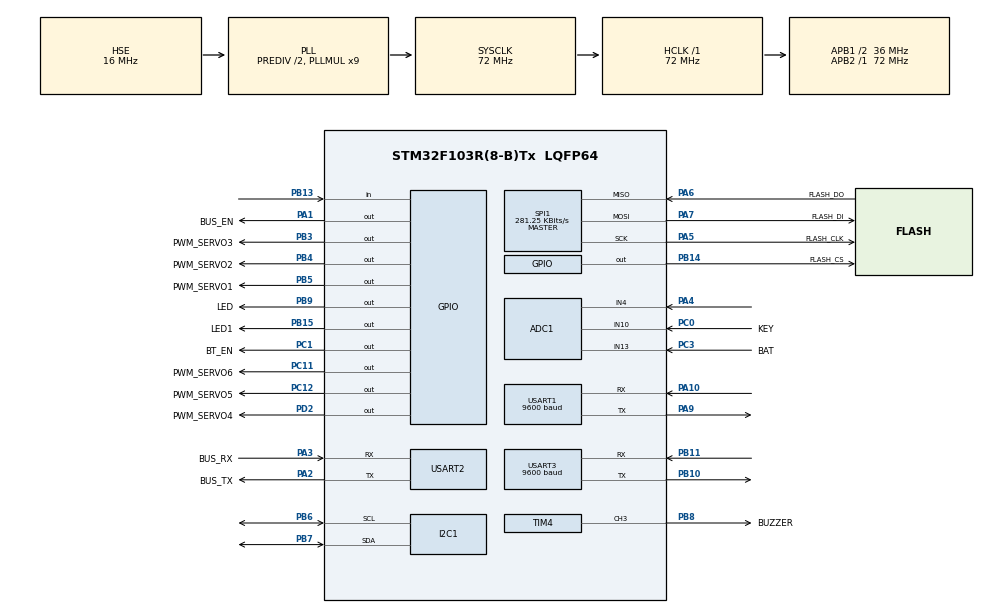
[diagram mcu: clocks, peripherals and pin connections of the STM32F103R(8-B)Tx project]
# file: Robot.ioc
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ADC1.Channel-0\#ChannelRegularConversion=ADC_CHANNEL_13
ADC1.Channel-1\#ChannelRegularConversion=ADC_CHANNEL_10
ADC1.Channel-2\#ChannelRegularConversion=ADC_CHANNEL_4
ADC1.ContinuousConvMode=DISABLE
ADC1.DataAlign=ADC_DATAALIGN_RIGHT
ADC1.NbrOfConversion=3
ADC1.NbrOfConversionFlag=1
ADC1.Rank-0\#ChannelRegularConversion=1
ADC1.Rank-1\#ChannelRegularConversion=2
ADC1.Rank-2\#ChannelRegularConversion=3
ADC1.SamplingTime-0\#ChannelRegularConversion=ADC_SAMPLETIME_239CYCLES_5
ADC1.SamplingTime-1\#ChannelRegularConversion=ADC_SAMPLETIME_239CYCLES_5
ADC1.SamplingTime-2\#ChannelRegularConversion=ADC_SAMPLETIME_239CYCLES_5
ADC1.master=1
Dma.ADC1.1.Direction=DMA_PERIPH_TO_MEMORY
Dma.ADC1.1.Instance=DMA1_Channel1
Dma.ADC1.1.MemDataAlignment=DMA_MDATAALIGN_HALFWORD
Dma.ADC1.1.MemInc=DMA_MINC_ENABLE
Dma.ADC1.1.Mode=DMA_CIRCULAR
Dma.ADC1.1.PeriphDataAlignment=DMA_PDATAALIGN_HALFWORD
Dma.ADC1.1.PeriphInc=DMA_PINC_DISABLE
Dma.ADC1.1.Priority=DMA_PRIORITY_LOW
Dma.I2C1_RX.2.Direction=DMA_PERIPH_TO_MEMORY
Dma.I2C1_RX.2.Instance=DMA1_Channel7
Dma.I2C1_RX.2.MemDataAlignment=DMA_MDATAALIGN_BYTE
Dma.I2C1_RX.2.MemInc=DMA_MINC_ENABLE
Dma.I2C1_RX.2.Mode=DMA_NORMAL
Dma.I2C1_RX.2.PeriphDataAlignment=DMA_PDATAALIGN_BYTE
Dma.I2C1_RX.2.PeriphInc=DMA_PINC_DISABLE
Dma.I2C1_RX.2.Priority=DMA_PRIORITY_VERY_HIGH
Dma.Request0=USART1_RX
Dma.Request1=ADC1
Dma.Request2=I2C1_RX
Dma.Request3=USART3_RX
Dma.USART1_RX.0.Direction=DMA_PERIPH_TO_MEMORY
Dma.USART1_RX.0.Instance=DMA1_Channel5
Dma.USART1_RX.0.MemDataAlignment=DMA_MDATAALIGN_BYTE
Dma.USART1_RX.0.MemInc=DMA_MINC_ENABLE
Dma.USART1_RX.0.Mode=DMA_NORMAL
Dma.USART1_RX.0.PeriphDataAlignment=DMA_PDATAALIGN_BYTE
Dma.USART1_RX.0.PeriphInc=DMA_PINC_DISABLE
Dma.USART1_RX.0.Priority=DMA_PRIORITY_LOW
Dma.USART3_RX.3.Direction=DMA_PERIPH_TO_MEMORY
Dma.USART3_RX.3.Instance=DMA1_Channel3
Dma.USART3_RX.3.MemDataAlignment=DMA_MDATAALIGN_BYTE
Dma.USART3_RX.3.MemInc=DMA_MINC_ENABLE
Dma.USART3_RX.3.Mode=DMA_NORMAL
Dma.USART3_RX.3.PeriphDataAlignment=DMA_PDATAALIGN_BYTE
Dma.USART3_RX.3.PeriphInc=DMA_PINC_DISABLE
Dma.USART3_RX.3.Priority=DMA_PRIORITY_LOW
I2C1.I2C_Mode=I2C_Standard
Mcu.Family=STM32F1
Mcu.Name=STM32F103R(8-B)Tx
Mcu.Package=LQFP64
NVIC.DMA1_Channel1_IRQn=true\:0\:0\:false\:false\:true\:false\:true\:true
NVIC.DMA1_Channel3_IRQn=true\:0\:0\:false\:false\:true\:false\:true\:true
NVIC.DMA1_Channel5_IRQn=true\:0\:0\:false\:false\:true\:false\:true\:true
NVIC.DMA1_Channel7_IRQn=true\:0\:0\:false\:true\:true\:4\:false\:true\:true
NVIC.I2C1_EV_IRQn=true\:0\:0\:false\:false\:true\:true\:true\:true
NVIC.PriorityGroup=NVIC_PRIORITYGROUP_4
NVIC.TIM3_IRQn=true\:0\:0\:true\:false\:true\:true\:false\:true
NVIC.USART1_IRQn=true\:3\:0\:true\:true\:true\:1\:true\:true\:true
NVIC.USART2_IRQn=true\:2\:0\:true\:true\:true\:2\:true\:false\:true
NVIC.USART3_IRQn=true\:1\:0\:true\:true\:true\:3\:true\:true\:true
PA1.GPIO_Label=BUS_EN
PA1.GPIO_Speed=GPIO_SPEED_FREQ_HIGH
PA1.PinState=GPIO_PIN_SET
PA1.Signal=GPIO_Output
PA10.Mode=Asynchronous
PA10.Signal=USART1_RX
PA13.Mode=Serial_Wire
PA13.Signal=SYS_JTMS-SWDIO
PA14.Mode=Serial_Wire
PA14.Signal=SYS_JTCK-SWCLK
PA2.GPIO_Label=BUS_TX
PA2.Mode=Asynchronous
PA2.Signal=USART2_TX
PA3.GPIO_Label=BUS_RX
PA3.Mode=Asynchronous
PA3.Signal=USART2_RX
PA4.Signal=ADCx_IN4
PA5.GPIO_Label=FLASH_CLK
PA5.GPIO_Speed=GPIO_SPEED_FREQ_HIGH
PA5.Mode=Full_Duplex_Master
PA5.Signal=SPI1_SCK
PA6.GPIO_Label=FLASH_DO
PA6.GPIO_PuPd=GPIO_NOPULL
PA6.Mode=Full_Duplex_Master
PA6.Signal=SPI1_MISO
PA7.GPIO_Label=FLASH_DI
PA7.GPIO_Speed=GPIO_SPEED_FREQ_HIGH
PA7.Mode=Full_Duplex_Master
PA7.Signal=SPI1_MOSI
PA9.Mode=Asynchronous
PA9.Signal=USART1_TX
PB10.Mode=Asynchronous
PB10.Signal=USART3_TX
PB11.Mode=Asynchronous
PB11.Signal=USART3_RX
PB13.Signal=GPIO_Input
PB14.GPIO_Label=FLASH_CS
PB14.GPIO_PuPd=GPIO_PULLUP
PB14.GPIO_Speed=GPIO_SPEED_FREQ_LOW
PB14.PinState=GPIO_PIN_SET
PB14.Signal=GPIO_Output
PB15.GPIO_Label=LED1
PB15.PinState=GPIO_PIN_SET
PB15.Signal=GPIO_Output
PB3.GPIO_Label=PWM_SERVO3
PB3.GPIO_Speed=GPIO_SPEED_FREQ_HIGH
PB3.Signal=GPIO_Output
PB4.GPIO_Label=PWM_SERVO2
PB4.GPIO_Speed=GPIO_SPEED_FREQ_HIGH
PB4.Signal=GPIO_Output
PB5.GPIO_Label=PWM_SERVO1
PB5.GPIO_Speed=GPIO_SPEED_FREQ_HIGH
PB5.Signal=GPIO_Output
PB6.Mode=I2C
PB6.Signal=I2C1_SCL
PB7.Mode=I2C
PB7.Signal=I2C1_SDA
PB8.GPIO_Label=BUZZER
PB8.Signal=S_TIM4_CH3
PB9.GPIO_Label=LED
PB9.GPIO_ModeDefaultOutputPP=GPIO_MODE_OUTPUT_PP
PB9.GPIO_PuPd=GPIO_PULLUP
PB9.PinState=GPIO_PIN_SET
PB9.Signal=GPIO_Output
PC0.GPIO_Label=KEY
PC0.Signal=ADCx_IN10
PC1.GPIO_Label=BT_EN
PC1.GPIO_ModeDefaultOutputPP=GPIO_MODE_OUTPUT_PP
PC1.GPIO_PuPd=GPIO_NOPULL
PC1.GPIO_Speed=GPIO_SPEED_FREQ_LOW
PC1.PinState=GPIO_PIN_SET
PC1.Signal=GPIO_Output
PC11.GPIO_Label=PWM_SERVO6
PC11.GPIO_Speed=GPIO_SPEED_FREQ_HIGH
PC11.Signal=GPIO_Output
PC12.GPIO_Label=PWM_SERVO5
PC12.GPIO_Speed=GPIO_SPEED_FREQ_HIGH
PC12.Signal=GPIO_Output
PC3.GPIO_Label=BAT
PC3.Signal=ADCx_IN13
PD0-OSC_IN.Mode=HSE-External-Oscillator
PD0-OSC_IN.Signal=RCC_OSC_IN
PD1-OSC_OUT.Mode=HSE-External-Oscillator
PD1-OSC_OUT.Signal=RCC_OSC_OUT
PD2.GPIO_Label=PWM_SERVO4
PD2.GPIO_Speed=GPIO_SPEED_FREQ_HIGH
PD2.Signal=GPIO_Output
ProjectManager.HeapSize=0x200
ProjectManager.StackSize=0x400
ProjectManager.TargetToolchain=MDK-ARM V5.32
RCC.ADCPresc=RCC_ADCPCLK2_DIV6
RCC.AHBFreq_Value=72000000
RCC.APB1CLKDivider=RCC_HCLK_DIV2
RCC.APB1Freq_Value=36000000
RCC.APB1TimFreq_Value=72000000
RCC.APB2Freq_Value=72000000
RCC.APB2TimFreq_Value=72000000
RCC.HCLKFreq_Value=72000000
RCC.HSEDivPLL=RCC_HSE_PREDIV_DIV2
RCC.HSE_VALUE=16000000
RCC.PLLMUL=RCC_PLL_MUL9
RCC.PLLSourceVirtual=RCC_PLLSOURCE_HSE
RCC.SYSCLKFreq_VALUE=72000000
RCC.SYSCLKSource=RCC_SYSCLKSOURCE_PLLCLK
RCC.USBFreq_Value=72000000
SH.ADCx_IN10.0=ADC1_IN10,IN10
SH.ADCx_IN13.0=ADC1_IN13,IN13
SH.ADCx_IN4.0=ADC1_IN4,IN4
SH.S_TIM4_CH3.0=TIM4_CH3,PWM Generation3 CH3
SPI1.BaudRatePrescaler=SPI_BAUDRATEPRESCALER_256
SPI1.CLKPhase=SPI_PHASE_1EDGE
SPI1.CLKPolarity=SPI_POLARITY_LOW
SPI1.CRCCalculation=SPI_CRCCALCULATION_DISABLE
SPI1.CalculateBaudRate=281.25 KBits/s
SPI1.Direction=SPI_DIRECTION_2LINES
SPI1.Mode=SPI_MODE_MASTER
SPI1.VirtualType=VM_MASTER
TIM3.AutoReloadPreload=TIM_AUTORELOAD_PRELOAD_ENABLE
TIM3.Channel-Output\ Compare1\ No\ Output=TIM_CHANNEL_1
TIM3.Channel-Output\ Compare2\ No\ Output=TIM_CHANNEL_2
TIM3.OC1Preload=DISABLE
TIM3.OCMode_1=TIM_OCMODE_TIMING
TIM3.Period=4999
TIM3.Prescaler=71
TIM3.Pulse-Output\ Compare1\ No\ Output=0
TIM4.AutoReloadPreload=TIM_AUTORELOAD_PRELOAD_ENABLE
TIM4.Channel-PWM\ Generation3\ CH3=TIM_CHANNEL_3
TIM4.Period=4999
TIM4.Prescaler=71
USART1.BaudRate=9600
USART1.VirtualMode=VM_ASYNC
USART2.VirtualMode=VM_ASYNC
USART3.BaudRate=9600
USART3.Mode=MODE_RX
USART3.VirtualMode=VM_ASYNC
VP_TIM3_VS_ClockSourceINT.Mode=Internal
VP_TIM3_VS_no_output1.Mode=Output Compare1 No Output
VP_TIM3_VS_no_output2.Mode=Output Compare2 No Output
board=custom

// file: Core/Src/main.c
/* USER CODE BEGIN Header */
/**
  ******************************************************************************
  * @file           : main.c
  * @brief          : Main program body
  ******************************************************************************
  * @attention
  *
  * Copyright (c) 2024 STMicroelectronics.
  * All rights reserved.
  *
  * in the root directory of this software component.
  * If no LICENSE file comes with this software, it is provided AS-IS.
  *
  ******************************************************************************
  */
/* USER CODE END Header */
#include "main.h"
#include "adc.h"
#include "dma.h"
#include "i2c.h"
#include "spi.h"
#include "tim.h"
#include "usart.h"
#include "gpio.h"

/* USER CODE BEGIN Includes */

#include "global.h"
#include "stdio.h"
#include "stdlib.h"
#include "led.h"
#include "buzzer.h"
#include "adc_sample.h"
#include "LineFollow.h"
/* USER CODE END Includes */

/* USER CODE BEGIN PV */
LineFollowHandleTypeDef LineFollowLearn;

/* USER CODE END PV */

void SystemClock_Config(void);
static void MX_NVIC_Init(void);

/* USER CODE BEGIN 0 */
int fputc(int ch,FILE *f)
{
	/* 采用轮询方式发鿿1字节数据，超时时间设置为无限等待 */
	HAL_UART_Transmit(&huart1,(uint8_t *)&ch,1,HAL_MAX_DELAY);
	return ch;
}

/* USER CODE END 0 */

int main(void)
{

  /* MCU Configuration--------------------------------------------------------*/

  /* Reset of all peripherals, Initializes the Flash interface and the Systick. */
  HAL_Init();

  /* Configure the system clock */
  SystemClock_Config();

  /* USER CODE BEGIN SysInit */
  __HAL_RCC_I2C1_CLK_ENABLE();
  __HAL_RCC_DMA1_CLK_ENABLE();
  /* USER CODE END SysInit */

  /* Initialize all configured peripherals */
  MX_GPIO_Init();
  MX_DMA_Init();
  MX_TIM3_Init();
  MX_USART3_UART_Init();
  MX_SPI1_Init();
  MX_USART1_UART_Init();
  MX_ADC1_Init();
  MX_I2C1_Init();
  MX_TIM4_Init();
  MX_USART2_UART_Init();

  /* Initialize interrupts */
  MX_NVIC_Init();
  /* USER CODE BEGIN 2 */
  led_init();
  LineFollowIIC_init();
  /* USER CODE END 2 */

  /* Infinite loop */
  while (1)
  {
    /* USER CODE BEGIN 3 */

		/*  Read State */
		LineFollowIIC_State(&LineFollowLearn);
		printf("State1:%d  State2:%d  State3:%d  State4:%d  State5:%d  State6:%d  State7:%d  State8:%d\r\n",
		 LineFollowLearn.data[0], LineFollowLearn.data[1], LineFollowLearn.data[2], LineFollowLearn.data[3],
		 LineFollowLearn.data[4], LineFollowLearn.data[5], LineFollowLearn.data[6], LineFollowLearn.data[7]);

		/*  Read Analog */
		LineFollowIIC_Analog(&LineFollowLearn);
		printf("Analog1:%d  Analog2:%d  Analog3:%d  Analog4:%d  Analog5:%d  Analog6:%d  Analog7:%d  Analog8:%d\r\n",
		 LineFollowLearn.data[0], LineFollowLearn.data[1], LineFollowLearn.data[2], LineFollowLearn.data[3],
		 LineFollowLearn.data[4], LineFollowLearn.data[5], LineFollowLearn.data[6], LineFollowLearn.data[7]);

		/*  Read Threshold */
		LineFollowIIC_Threshold(&LineFollowLearn);
		printf("Threshold1:%d  Threshold2:%d  Threshold3:%d  Threshold4:%d  Threshold5:%d  Threshold6:%d  Threshold7:%d  Threshold8:%d\r\n",
		 LineFollowLearn.data[0], LineFollowLearn.data[1], LineFollowLearn.data[2], LineFollowLearn.data[3],
		 LineFollowLearn.data[4], LineFollowLearn.data[5], LineFollowLearn.data[6], LineFollowLearn.data[7]);

		HAL_Delay(400);
  }
  /* USER CODE END 3 */
}

void SystemClock_Config(void)
{
  RCC_OscInitTypeDef RCC_OscInitStruct = {0};
  RCC_ClkInitTypeDef RCC_ClkInitStruct = {0};
  RCC_PeriphCLKInitTypeDef PeriphClkInit = {0};

  /** Initializes the RCC Oscillators according to the specified parameters
  * in the RCC_OscInitTypeDef structure.
  */
  RCC_OscInitStruct.OscillatorType = RCC_OSCILLATORTYPE_HSE;
  RCC_OscInitStruct.HSEState = RCC_HSE_ON;
  RCC_OscInitStruct.HSEPredivValue = RCC_HSE_PREDIV_DIV2;
  RCC_OscInitStruct.HSIState = RCC_HSI_ON;
  RCC_OscInitStruct.PLL.PLLState = RCC_PLL_ON;
  RCC_OscInitStruct.PLL.PLLSource = RCC_PLLSOURCE_HSE;
  RCC_OscInitStruct.PLL.PLLMUL = RCC_PLL_MUL9;
  if (HAL_RCC_OscConfig(&RCC_OscInitStruct) != HAL_OK)
  {
    Error_Handler();
  }

  /** Initializes the CPU, AHB and APB buses clocks
  */
  RCC_ClkInitStruct.ClockType = RCC_CLOCKTYPE_HCLK|RCC_CLOCKTYPE_SYSCLK
                              |RCC_CLOCKTYPE_PCLK1|RCC_CLOCKTYPE_PCLK2;
  RCC_ClkInitStruct.SYSCLKSource = RCC_SYSCLKSOURCE_PLLCLK;
  RCC_ClkInitStruct.AHBCLKDivider = RCC_SYSCLK_DIV1;
  RCC_ClkInitStruct.APB1CLKDivider = RCC_HCLK_DIV2;
  RCC_ClkInitStruct.APB2CLKDivider = RCC_HCLK_DIV1;

  if (HAL_RCC_ClockConfig(&RCC_ClkInitStruct, FLASH_LATENCY_2) != HAL_OK)
  {
    Error_Handler();
  }
  PeriphClkInit.PeriphClockSelection = RCC_PERIPHCLK_ADC;
  PeriphClkInit.AdcClockSelection = RCC_ADCPCLK2_DIV6;
  if (HAL_RCCEx_PeriphCLKConfig(&PeriphClkInit) != HAL_OK)
  {
    Error_Handler();
  }
}

/**
  * @brief NVIC Configuration.
  * @retval None
  */
static void MX_NVIC_Init(void)
{
  /* USART1_IRQn interrupt configuration */
  HAL_NVIC_SetPriority(USART1_IRQn, 3, 0);
  HAL_NVIC_EnableIRQ(USART1_IRQn);
  /* USART2_IRQn interrupt configuration */
  HAL_NVIC_SetPriority(USART2_IRQn, 2, 0);
  HAL_NVIC_EnableIRQ(USART2_IRQn);
  /* USART3_IRQn interrupt configuration */
  HAL_NVIC_SetPriority(USART3_IRQn, 1, 0);
  HAL_NVIC_EnableIRQ(USART3_IRQn);
  /* DMA1_Channel7_IRQn interrupt configuration */
  HAL_NVIC_SetPriority(DMA1_Channel7_IRQn, 0, 0);
  HAL_NVIC_EnableIRQ(DMA1_Channel7_IRQn);
}

void Error_Handler(void)
{
  __disable_irq();
  while (1)
  {
  }
}
